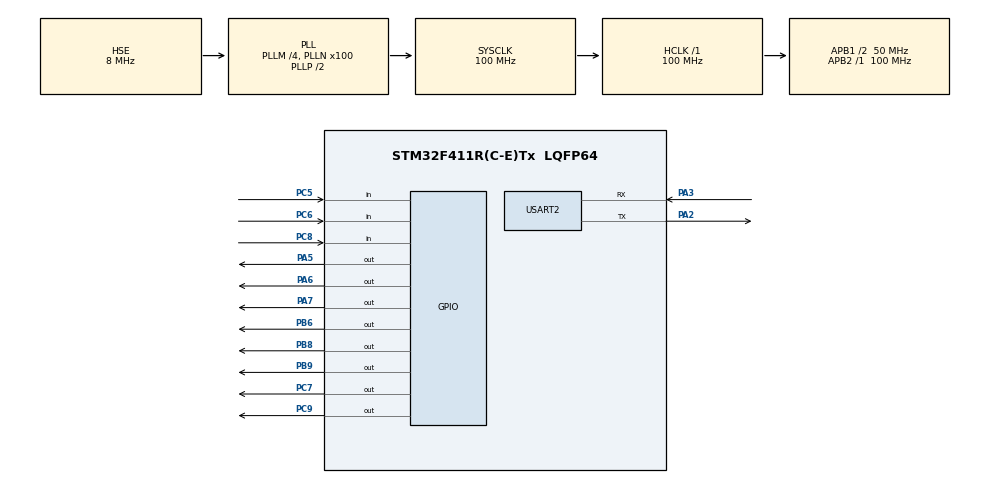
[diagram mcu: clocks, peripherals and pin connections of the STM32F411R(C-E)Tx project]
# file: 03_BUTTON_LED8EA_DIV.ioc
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Mcu.Family=STM32F4
Mcu.Name=STM32F411R(C-E)Tx
Mcu.Package=LQFP64
NVIC.PriorityGroup=NVIC_PRIORITYGROUP_4
NVIC.USART2_IRQn=true\:0\:0\:false\:false\:true\:true\:true\:true
PA13.Mode=Serial_Wire
PA13.Signal=SYS_JTMS-SWDIO
PA14.Mode=Serial_Wire
PA14.Signal=SYS_JTCK-SWCLK
PA2.Mode=Asynchronous
PA2.Signal=USART2_TX
PA3.Mode=Asynchronous
PA3.Signal=USART2_RX
PA5.Signal=GPIO_Output
PA6.Signal=GPIO_Output
PA7.Signal=GPIO_Output
PB6.Signal=GPIO_Output
PB8.Signal=GPIO_Output
PB9.Signal=GPIO_Output
PC5.Signal=GPIO_Input
PC6.Signal=GPIO_Input
PC7.Signal=GPIO_Output
PC8.Signal=GPIO_Input
PC9.Signal=GPIO_Output
PH0\ -\ OSC_IN.Mode=HSE-External-Oscillator
PH0\ -\ OSC_IN.Signal=RCC_OSC_IN
PH1\ -\ OSC_OUT.Mode=HSE-External-Oscillator
PH1\ -\ OSC_OUT.Signal=RCC_OSC_OUT
ProjectManager.HeapSize=0x200
ProjectManager.StackSize=0x400
ProjectManager.TargetToolchain=STM32CubeIDE
RCC.48MHZClocksFreq_Value=50000000
RCC.AHBFreq_Value=100000000
RCC.APB1CLKDivider=RCC_HCLK_DIV2
RCC.APB1Freq_Value=50000000
RCC.APB1TimFreq_Value=100000000
RCC.APB2Freq_Value=100000000
RCC.APB2TimFreq_Value=100000000
RCC.CortexFreq_Value=100000000
RCC.HCLKFreq_Value=100000000
RCC.HSE_VALUE=8000000
RCC.HSI_VALUE=16000000
RCC.LSE_VALUE=32768
RCC.PLLM=4
RCC.PLLN=100
RCC.PLLSourceVirtual=RCC_PLLSOURCE_HSE
RCC.SYSCLKFreq_VALUE=100000000
RCC.SYSCLKSource=RCC_SYSCLKSOURCE_PLLCLK
RCC.VCOOutputFreq_Value=200000000
USART2.VirtualMode=VM_ASYNC
board=custom

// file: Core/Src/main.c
/* USER CODE BEGIN Header */
/**
  ******************************************************************************
  * @file           : main.c
  * @brief          : Main program body
  ******************************************************************************
  * @attention
  *
  * Copyright (c) 2025 STMicroelectronics.
  * All rights reserved.
  *
  * This software is licensed under terms that can be found in the LICENSE file
  * in the root directory of this software component.
  * If no LICENSE file comes with this software, it is provided AS-IS.
  *
  ******************************************************************************
  */
/* USER CODE END Header */
#include "main.h"
#include "usart.h"
#include "gpio.h"

/* USER CODE BEGIN Includes */

#include "led.h"
#include "button.h"

/* USER CODE END Includes */

void SystemClock_Config(void);

int main(void)
{

  /* USER CODE BEGIN 1 */

uint8_t Data_ON[] = "LED ON\n";
uint8_t Data_OFF[] = "LED OFF\n";
uint8_t Data_LS[] = "LED LEFTSHIFT\n";

  /* USER CODE END 1 */

  /* MCU Configuration--------------------------------------------------------*/

  /* Reset of all peripherals, Initializes the Flash interface and the Systick. */
  HAL_Init();

  /* Configure the system clock */
  SystemClock_Config();

  /* Initialize all configured peripherals */
  MX_GPIO_Init();
  MX_USART2_UART_Init();

  /* Infinite loop */
  /* USER CODE BEGIN WHILE */
  while (1)
  {
    if(buttonGetPressed(0))
    {
      HAL_UART_Transmit(&huart2, Data_ON, sizeof(Data_ON), 100);
      HAL_Delay(100);
      ledOn(8);
    }
    if(buttonGetPressed(1))
    {
      HAL_UART_Transmit(&huart2, Data_OFF, sizeof(Data_OFF), 100);
      HAL_Delay(100);
      ledOff(8);
    }
    if(buttonGetPressed(2))
    {
      HAL_UART_Transmit(&huart2, Data_LS, sizeof(Data_LS), 100);
      HAL_Delay(100);
      ledLeftShift(8);
    }
    /* USER CODE END WHILE */

  }
}

void SystemClock_Config(void)
{
  RCC_OscInitTypeDef RCC_OscInitStruct = {0};
  RCC_ClkInitTypeDef RCC_ClkInitStruct = {0};

  /** Configure the main internal regulator output voltage
  */
  __HAL_RCC_PWR_CLK_ENABLE();
  __HAL_PWR_VOLTAGESCALING_CONFIG(PWR_REGULATOR_VOLTAGE_SCALE1);

  /** Initializes the RCC Oscillators according to the specified parameters
  * in the RCC_OscInitTypeDef structure.
  */
  RCC_OscInitStruct.OscillatorType = RCC_OSCILLATORTYPE_HSE;
  RCC_OscInitStruct.HSEState = RCC_HSE_ON;
  RCC_OscInitStruct.PLL.PLLState = RCC_PLL_ON;
  RCC_OscInitStruct.PLL.PLLSource = RCC_PLLSOURCE_HSE;
  RCC_OscInitStruct.PLL.PLLM = 4;
  RCC_OscInitStruct.PLL.PLLN = 100;
  RCC_OscInitStruct.PLL.PLLP = RCC_PLLP_DIV2;
  RCC_OscInitStruct.PLL.PLLQ = 4;
  if (HAL_RCC_OscConfig(&RCC_OscInitStruct) != HAL_OK)
  {
    Error_Handler();
  }

  /** Initializes the CPU, AHB and APB buses clocks
  */
  RCC_ClkInitStruct.ClockType = RCC_CLOCKTYPE_HCLK|RCC_CLOCKTYPE_SYSCLK
                              |RCC_CLOCKTYPE_PCLK1|RCC_CLOCKTYPE_PCLK2;
  RCC_ClkInitStruct.SYSCLKSource = RCC_SYSCLKSOURCE_PLLCLK;
  RCC_ClkInitStruct.AHBCLKDivider = RCC_SYSCLK_DIV1;
  RCC_ClkInitStruct.APB1CLKDivider = RCC_HCLK_DIV2;
  RCC_ClkInitStruct.APB2CLKDivider = RCC_HCLK_DIV1;

  if (HAL_RCC_ClockConfig(&RCC_ClkInitStruct, FLASH_LATENCY_3) != HAL_OK)
  {
    Error_Handler();
  }
}

void Error_Handler(void)
{
  __disable_irq();
  while (1)
  {
  }
}
